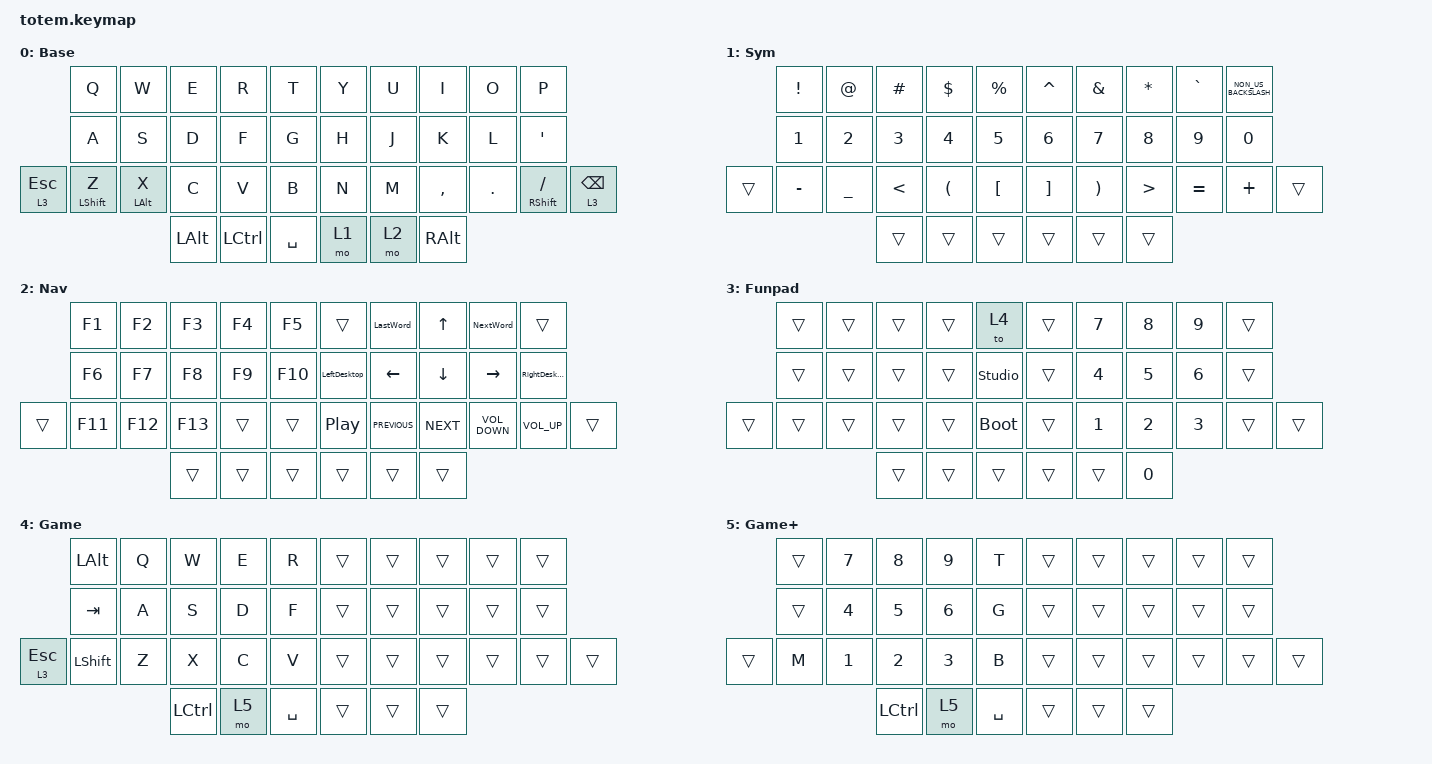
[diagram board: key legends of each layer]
//
//                                                        ▀▀▀▀▀     ▀▀▀▀▀          ▀▀█▀▀
//                                                        ▄▀▀▀▄  ▄  ▄▀▀▀▄  ▄  ▄▀▀▀▄  █  ▄▀▀▀▄
//                                                        █   █  █  █   █  █  █   █  █  █   █
//                                                         ▀▀▀   █   ▀▀▀   █   ▀▀▀   ▀   ▀▀▀
//                                                               █      ▄▄▄█▄▄▄    █   █  
//                                                               ▀      █  █  █     █▄█
//                                                             ▀▀▀▀▀    █  █  █      ▀
//                                                                      ▀  ▀  ▀
//
// ▄▄▄▄▄▄▄▄▄▄▄▄▄▄▄▄▄▄▄▄▄▄▄▄▄▄▄▄▄▄▄▄▄▄▄▄▄▄▄▄▄▄▄▄▄▄▄▄▄▄▄▄▄▄▄▄▄▄▄▄▄▄▄▄▄▄▄▄▄▄▄▄▄▄▄▄▄▄▄▄▄▄▄▄▄▄▄▄▄▄▄▄▄▄▄▄▄▄▄▄▄▄▄▄▄▄▄▄▄▄▄▄▄▄▄▄▄▄▄▄▄▄▄▄▄▄▄▄▄▄▄▄▄▄▄▄▄▄▄▄▄▄▄▄▄▄▄▄▄

#include <behaviors.dtsi>
#include <dt-bindings/zmk/keys.h>

#define Base        0
#define Nav         1
#define Sym         2
#define Fun         3
#define Game        4
#define Gameplus    5

&mt {
    quick-tap-ms = <100>;
    global-quick-tap;
    flavor = "tap-preferred";
    tapping-term-ms = <170>;
};

&lt {
    tapping-term-ms = <240>;
    flavor = "balanced";
    quick-tap-ms = <150>;
};

/ {
    behaviors {
        hm: homerow_mods {
            compatible = "zmk,behavior-hold-tap";
            label = "HOMEROW_MODS";
            #binding-cells = <2>;
            flavor = "tap-preferred";
            tapping-term-ms = <200>;
            quick-tap-ms = <125>;
            global-quick-tap;
            bindings = <&kp>, <&kp>;
        };
    };

    combos {
        compatible = "zmk,combos";

        Escape {
            bindings = <&kp ESCAPE>;
            key-positions = <0 1>;
            layers = <0>;
        };

        Delete {
            bindings = <&kp DEL>;
            key-positions = <8 9>;
            layers = <1>;
        };

        Tab {
            bindings = <&kp TAB>;
            key-positions = <11 13>;
            layers = <0>;
        };

        Enter {
            bindings = <&kp ENTER>;
            key-positions = <16 18>;
            layers = <0>;
        };

        Semi-Colon {
            bindings = <&kp SEMI>;
            key-positions = <18 19>;
            layers = <0>;
        };

        Backspace {
            bindings = <&kp BACKSPACE>;
            key-positions = <8 9>;
            layers = <0>;
        };
    };

    macros {
        LeftDesktop: LeftDesktop {
            compatible = "zmk,behavior-macro";
            #binding-cells = <0>;
            bindings =
                <&macro_press>,
                <&kp LEFT_GUI>,
                <&macro_press>,
                <&kp LEFT_CONTROL>,
                <&macro_tap>,
                <&kp LEFT>,
                <&macro_release>,
                <&kp LEFT_CONTROL>,
                <&macro_release>,
                <&kp LEFT_GUI>;

            label = "LEFTDESKTOP";
        };

        RightDesktop: RightDesktop {
            compatible = "zmk,behavior-macro";
            #binding-cells = <0>;
            bindings =
                <&macro_press>,
                <&kp LEFT_GUI>,
                <&macro_press>,
                <&kp LEFT_CONTROL>,
                <&macro_tap>,
                <&kp RIGHT>,
                <&macro_release>,
                <&kp LEFT_CONTROL>,
                <&macro_release>,
                <&kp LEFT_GUI>;

            label = "RIGHTDESKTOP";
        };

        LastWord: LastWord {
            compatible = "zmk,behavior-macro";
            #binding-cells = <0>;
            bindings =
                <&macro_press>,
                <&kp LEFT_ALT>,
                <&macro_tap>,
                <&kp LEFT_ARROW>,
                <&macro_release>,
                <&kp LEFT_ALT>;

            label = "LASTWORD";
        };

        NextWord: NextWord {
            compatible = "zmk,behavior-macro";
            #binding-cells = <0>;
            bindings =
                <&macro_press>,
                <&kp LEFT_ALT>,
                <&macro_tap>,
                <&kp RIGHT>,
                <&macro_release>,
                <&kp LEFT_ALT>;

            label = "NEXTWORD";
        };
    };

    keymap {
        compatible = "zmk,keymap";

        Base {
            display-name = "Base";
            bindings = <
              &kp Q             &kp W           &kp E         &kp R             &kp T        &kp Y  &kp U  &kp I          &kp O    &kp P
              &kp A             &kp S           &kp D         &kp F             &kp G        &kp H  &kp J  &kp K          &kp L    &kp SQT
&lt 3 ESCAPE  &mt LEFT_SHIFT Z  &mt LEFT_ALT X  &kp C         &kp V             &kp B        &kp N  &kp M  &kp COMMA      &kp DOT  &mt RIGHT_SHIFT SLASH  &lt 3 BACKSPACE
                                                &kp LEFT_ALT  &kp LEFT_CONTROL  &kp SPACE    &mo 1  &mo 2  &kp RIGHT_ALT
            >;
        };

        Sym {
            display-name = "Sym";
            bindings = <
        &kp EXCLAMATION  &kp AT_SIGN     &kp HASH       &kp DOLLAR            &kp PERCENT         &kp CARET          &kp AMPERSAND          &kp ASTERISK      &kp GRAVE  &kp NON_US_BACKSLASH
        &kp NUMBER_1     &kp NUMBER_2    &kp NUMBER_3   &kp NUMBER_4          &kp N5              &kp NUMBER_6       &kp N7                 &kp N8            &kp N9     &kp N0
&trans  &kp MINUS        &kp UNDERSCORE  &kp LESS_THAN  &kp LEFT_PARENTHESIS  &kp LEFT_BRACKET    &kp RIGHT_BRACKET  &kp RIGHT_PARENTHESIS  &kp GREATER_THAN  &kp EQUAL  &kp PLUS              &trans
                                         &trans         &trans                &trans              &trans             &trans                 &trans
            >;
        };

        Nav {
            display-name = "Nav";
            bindings = <
        &kp F1   &kp F2   &kp F3   &kp F4  &kp F5     &trans            &LastWord       &kp UP_ARROW    &NextWord          &trans
        &kp F6   &kp F7   &kp F8   &kp F9  &kp F10    &LeftDesktop      &kp LEFT_ARROW  &kp DOWN_ARROW  &kp RIGHT          &RightDesktop
&trans  &kp F11  &kp F12  &kp F13  &trans  &trans     &kp C_PLAY_PAUSE  &kp C_PREVIOUS  &kp C_NEXT      &kp C_VOLUME_DOWN  &kp C_VOLUME_UP  &trans
                          &trans   &trans  &trans     &trans            &trans          &trans
            >;
        };

        Funpad {
            display-name = "Funpad";
            bindings = <
        &trans  &trans  &trans  &trans  &to 4             &trans  &kp N7        &kp N8        &kp N9        &trans
        &trans  &trans  &trans  &trans  &studio_unlock    &trans  &kp NUMBER_4  &kp N5        &kp NUMBER_6  &trans
&trans  &trans  &trans  &trans  &trans  &bootloader       &trans  &kp NUMBER_1  &kp NUMBER_2  &kp NUMBER_3  &trans  &trans
                        &trans  &trans  &trans            &trans  &trans        &kp N0
            >;
        };

        Gaming {
            display-name = "Game";
            bindings = <
              &kp LEFT_ALT    &kp Q  &kp W             &kp E  &kp R        &trans  &trans  &trans  &trans  &trans
              &kp TAB         &kp A  &kp S             &kp D  &kp F        &trans  &trans  &trans  &trans  &trans
&lt 3 ESCAPE  &kp LEFT_SHIFT  &kp Z  &kp X             &kp C  &kp V        &trans  &trans  &trans  &trans  &trans  &trans
                                     &kp LEFT_CONTROL  &mo 5  &kp SPACE    &trans  &trans  &trans
            >;
        };

        Gaming+ {
            display-name = "Game+";
            bindings = <
        &trans  &kp N7        &kp N8            &kp N9        &kp T        &trans  &trans  &trans  &trans  &trans
        &trans  &kp NUMBER_4  &kp N5            &kp NUMBER_6  &kp G        &trans  &trans  &trans  &trans  &trans
&trans  &kp M   &kp NUMBER_1  &kp NUMBER_2      &kp NUMBER_3  &kp B        &trans  &trans  &trans  &trans  &trans  &trans
                              &kp LEFT_CONTROL  &mo 5         &kp SPACE    &trans  &trans  &trans
            >;
        };
    };
};
